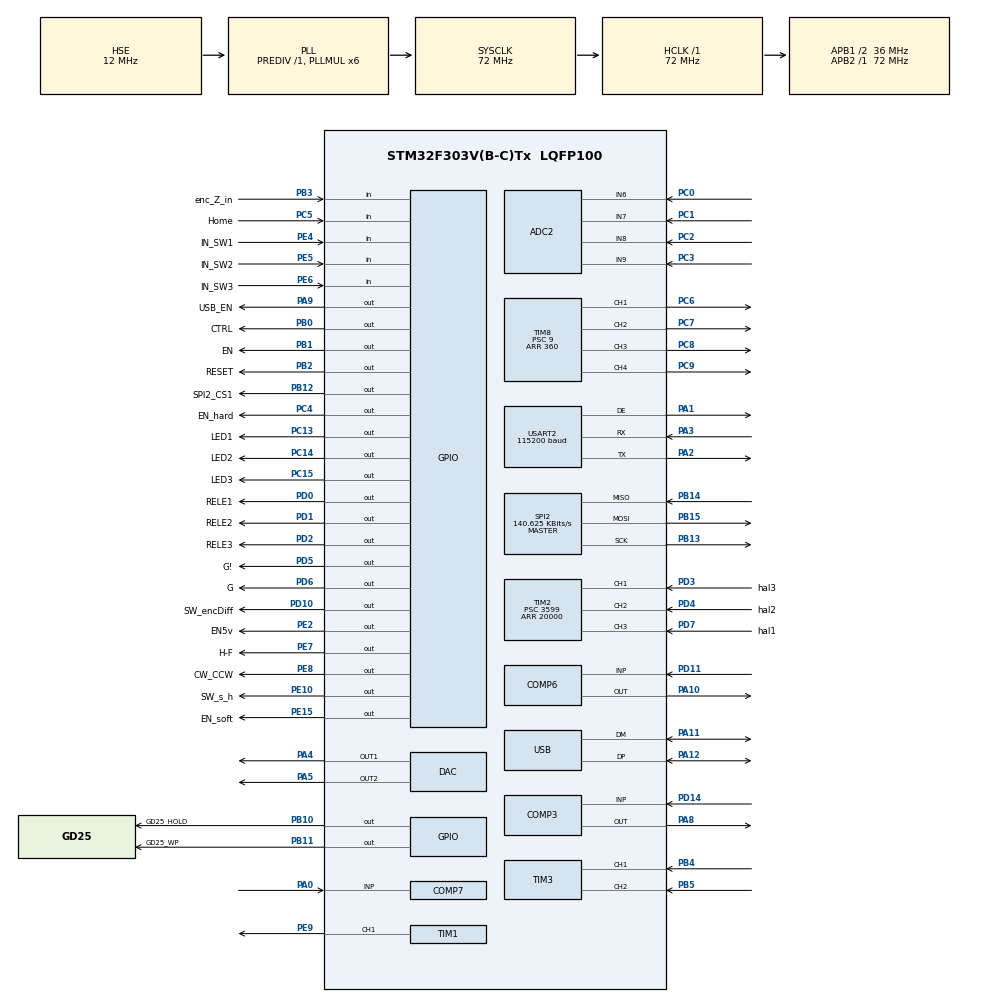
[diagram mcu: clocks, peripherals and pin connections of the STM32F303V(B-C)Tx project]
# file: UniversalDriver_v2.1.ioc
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ADC1.Channel-0\#ChannelRegularConversion=ADC_CHANNEL_6
ADC1.Channel-5\#ChannelRegularConversion=ADC_CHANNEL_7
ADC1.Channel-6\#ChannelRegularConversion=ADC_CHANNEL_8
ADC1.Channel-7\#ChannelRegularConversion=ADC_CHANNEL_9
ADC1.ClockPrescaler=ADC_CLOCK_ASYNC_DIV1
ADC1.ContinuousConvMode=ENABLE
ADC1.DMAContinuousRequests=ENABLE
ADC1.InjNumberOfConversion=0
ADC1.NbrOfConversion=4
ADC1.NbrOfConversionFlag=1
ADC1.Offset-0\#ChannelRegularConversion=0
ADC1.Offset-5\#ChannelRegularConversion=0
ADC1.Offset-6\#ChannelRegularConversion=0
ADC1.Offset-7\#ChannelRegularConversion=0
ADC1.OffsetNumber-0\#ChannelRegularConversion=ADC_OFFSET_NONE
ADC1.OffsetNumber-5\#ChannelRegularConversion=ADC_OFFSET_NONE
ADC1.OffsetNumber-6\#ChannelRegularConversion=ADC_OFFSET_NONE
ADC1.OffsetNumber-7\#ChannelRegularConversion=ADC_OFFSET_NONE
ADC1.Rank-0\#ChannelRegularConversion=1
ADC1.Rank-5\#ChannelRegularConversion=2
ADC1.Rank-6\#ChannelRegularConversion=3
ADC1.Rank-7\#ChannelRegularConversion=4
ADC1.SamplingTime-0\#ChannelRegularConversion=ADC_SAMPLETIME_19CYCLES_5
ADC1.SamplingTime-5\#ChannelRegularConversion=ADC_SAMPLETIME_19CYCLES_5
ADC1.SamplingTime-6\#ChannelRegularConversion=ADC_SAMPLETIME_19CYCLES_5
ADC1.SamplingTime-7\#ChannelRegularConversion=ADC_SAMPLETIME_19CYCLES_5
ADC1.master=1
ADC2.Channel-0\#ChannelRegularConversion=ADC_CHANNEL_9
ADC2.NbrOfConversionFlag=1
ADC2.Offset-0\#ChannelRegularConversion=0
ADC2.OffsetNumber-0\#ChannelRegularConversion=ADC_OFFSET_NONE
ADC2.Rank-0\#ChannelRegularConversion=1
ADC2.SamplingTime-0\#ChannelRegularConversion=ADC_SAMPLETIME_1CYCLE_5
COMP3.InvertingInput=COMP_INVERTINGINPUT_DAC1_CH2
COMP6.InvertingInput=COMP_INVERTINGINPUT_DAC1_CH2
COMP7.InvertingInput=COMP_INVERTINGINPUT_DAC1_CH2
Dma.ADC1.0.Direction=DMA_PERIPH_TO_MEMORY
Dma.ADC1.0.Instance=DMA1_Channel1
Dma.ADC1.0.MemDataAlignment=DMA_MDATAALIGN_HALFWORD
Dma.ADC1.0.MemInc=DMA_MINC_ENABLE
Dma.ADC1.0.Mode=DMA_CIRCULAR
Dma.ADC1.0.PeriphDataAlignment=DMA_PDATAALIGN_HALFWORD
Dma.ADC1.0.PeriphInc=DMA_PINC_DISABLE
Dma.ADC1.0.Priority=DMA_PRIORITY_LOW
Dma.Request0=ADC1
FREERTOS.INCLUDE_vTaskDelayUntil=1
FREERTOS.Tasks01=mainTask,0,512,MainTask,Default,NULL,Dynamic,NULL,NULL;modBus,0,512,ModBus,Default,NULL,Dynamic,NULL,NULL
FREERTOS.configTOTAL_HEAP_SIZE=20480
Mcu.Family=STM32F3
Mcu.Name=STM32F303V(B-C)Tx
Mcu.Package=LQFP100
NVIC.DMA1_Channel1_IRQn=true\:5\:0\:false\:false\:true\:true\:false\:true
NVIC.PriorityGroup=NVIC_PRIORITYGROUP_4
NVIC.TIM1_TRG_COM_TIM17_IRQn=true\:5\:0\:false\:false\:true\:true\:true\:true
NVIC.TIM2_IRQn=true\:5\:0\:false\:false\:true\:true\:true\:true
NVIC.TIM4_IRQn=true\:5\:0\:false\:false\:true\:true\:true\:true
NVIC.TIM6_DAC_IRQn=true\:5\:0\:false\:false\:true\:true\:true\:true
NVIC.TIM7_IRQn=true\:0\:0\:false\:false\:true\:false\:false\:true
NVIC.TimeBase=TIM7_IRQn
NVIC.TimeBaseIP=TIM7
NVIC.USART2_IRQn=true\:5\:0\:false\:false\:true\:true\:true\:true
NVIC.USB_LP_CAN_RX0_IRQn=true\:5\:0\:false\:false\:true\:true\:false\:true
PA0.Mode=INP
PA0.Signal=COMP7_INP
PA1.Mode=Hardware Flow Control (RS485)
PA1.Signal=USART2_DE
PA10.Mode=ExternalOutput
PA10.Signal=COMP6_OUT
PA11.Mode=Device
PA11.Signal=USB_DM
PA12.Mode=Device
PA12.Signal=USB_DP
PA13.Mode=Serial_Wire
PA13.Signal=SYS_JTMS-SWDIO
PA14.Mode=Serial_Wire
PA14.Signal=SYS_JTCK-SWCLK
PA2.Mode=Asynchronous
PA2.Signal=USART2_TX
PA3.Mode=Asynchronous
PA3.Signal=USART2_RX
PA4.Signal=COMP_DAC1_group
PA5.Signal=COMP_DAC2_group
PA6.Signal=TIM1_BKIN
PA7.Signal=S_TIM17_CH1
PA8.Mode=ExternalOutput
PA8.Signal=COMP3_OUT
PA9.GPIO_Label=USB_EN
PA9.Signal=GPIO_Output
PB0.GPIO_Label=CTRL
PB0.Signal=GPIO_Output
PB1.GPIO_Label=EN
PB1.Signal=GPIO_Output
PB10.GPIO_Label=GD25_HOLD
PB10.Signal=GPIO_Output
PB11.GPIO_Label=GD25_WP
PB11.Signal=GPIO_Output
PB12.GPIO_Label=SPI2_CS1
PB12.Signal=GPIO_Output
PB13.Mode=Full_Duplex_Master
PB13.Signal=SPI2_SCK
PB14.Mode=Full_Duplex_Master
PB14.Signal=SPI2_MISO
PB15.Mode=Full_Duplex_Master
PB15.Signal=SPI2_MOSI
PB2.GPIO_Label=RESET
PB2.Signal=GPIO_Output
PB3.GPIO_Label=enc_Z_in
PB3.Signal=GPIO_Input
PB4.Signal=S_TIM3_CH1
PB5.Signal=S_TIM3_CH2
PB6.Signal=TIM8_BKIN2
PB7.Signal=TIM8_BKIN
PB8.Signal=CAN_RX
PB9.Signal=CAN_TX
PC0.Signal=ADCx_IN6
PC1.Signal=ADCx_IN7
PC13.GPIO_Label=LED1
PC13.Signal=GPIO_Output
PC14-OSC32_IN.GPIO_Label=LED2
PC14-OSC32_IN.Signal=GPIO_Output
PC15-OSC32_OUT.GPIO_Label=LED3
PC15-OSC32_OUT.Signal=GPIO_Output
PC2.Signal=ADCx_IN8
PC3.Signal=ADCx_IN9
PC4.GPIO_Label=EN_hard
PC4.Signal=GPIO_Output
PC5.GPIO_Label=Home
PC5.Signal=GPIO_Input
PC6.Signal=S_TIM8_CH1
PC7.Signal=S_TIM8_CH2
PC8.Signal=S_TIM8_CH3
PC9.Signal=S_TIM8_CH4
PD0.GPIO_Label=RELE1
PD0.Signal=GPIO_Output
PD1.GPIO_Label=RELE2
PD1.Signal=GPIO_Output
PD10.GPIO_Label=SW_encDiff
PD10.Signal=GPIO_Output
PD11.Mode=INP
PD11.Signal=COMP6_INP
PD12.Signal=USART3_DE
PD14.Mode=INP
PD14.Signal=COMP3_INP
PD2.GPIO_Label=RELE3
PD2.Signal=GPIO_Output
PD3.GPIO_Label=hal3
PD3.Signal=S_TIM2_CH1_ETR
PD4.GPIO_Label=hal2
PD4.Signal=S_TIM2_CH2
PD5.GPIO_Label=G\!
PD5.Signal=GPIO_Output
PD6.GPIO_Label=G
PD6.Signal=GPIO_Output
PD7.GPIO_Label=hal1
PD7.Signal=S_TIM2_CH3
PD8.Signal=USART3_TX
PD9.Signal=USART3_RX
PE10.GPIO_Label=SW_s_h
PE10.Signal=GPIO_Output
PE15.GPIO_Label=EN_soft
PE15.Signal=GPIO_Output
PE2.GPIO_Label=EN5v
PE2.Signal=GPIO_Output
PE4.GPIO_Label=IN_SW1
PE4.Signal=GPIO_Input
PE5.GPIO_Label=IN_SW2
PE5.Signal=GPIO_Input
PE6.GPIO_Label=IN_SW3
PE6.Signal=GPIO_Input
PE7.GPIO_Label=H-F
PE7.Signal=GPIO_Output
PE8.GPIO_Label=CW_CCW
PE8.Signal=GPIO_Output
PE9.Signal=S_TIM1_CH1
PF0-OSC_IN.Mode=HSE-External-Oscillator
PF0-OSC_IN.Signal=RCC_OSC_IN
PF1-OSC_OUT.Mode=HSE-External-Oscillator
PF1-OSC_OUT.Signal=RCC_OSC_OUT
ProjectManager.HeapSize=0x1000
ProjectManager.StackSize=0x400
ProjectManager.TargetToolchain=EWARM V8.32
RCC.AHBFreq_Value=72000000
RCC.APB1CLKDivider=RCC_HCLK_DIV2
RCC.APB1Freq_Value=36000000
RCC.APB1TimFreq_Value=72000000
RCC.APB2Freq_Value=72000000
RCC.APB2TimFreq_Value=72000000
RCC.CortexFreq_Value=72000000
RCC.HCLKFreq_Value=72000000
RCC.HSE_VALUE=12000000
RCC.HSI_VALUE=8000000
RCC.LSE_VALUE=32768
RCC.PLLMUL=RCC_PLL_MUL6
RCC.PRESCALERUSB=RCC_USBCLKSOURCE_PLL_DIV1_5
RCC.SYSCLKFreq_VALUE=72000000
RCC.SYSCLKSourceVirtual=RCC_SYSCLKSOURCE_PLLCLK
RCC.USBFreq_Value=48000000
SH.ADCx_IN6.0=ADC2_IN6,IN6-Single-Ended
SH.ADCx_IN6.1=ADC1_IN6,IN6-Single-Ended
SH.ADCx_IN7.0=ADC2_IN7,IN7-Single-Ended
SH.ADCx_IN7.1=ADC1_IN7,IN7-Single-Ended
SH.ADCx_IN8.0=ADC2_IN8,IN8-Single-Ended
SH.ADCx_IN8.1=ADC1_IN8,IN8-Single-Ended
SH.ADCx_IN9.0=ADC2_IN9,IN9-Single-Ended
SH.ADCx_IN9.1=ADC1_IN9,IN9-Single-Ended
SH.COMP_DAC1_group.0=DAC_OUT1,DAC_OUT1
SH.COMP_DAC2_group.0=DAC_OUT2,Enable_DAC_OUT2
SH.S_TIM17_CH1.0=TIM17_CH1
SH.S_TIM1_CH1.0=TIM1_CH1,Output Compare1 CH1
SH.S_TIM2_CH1_ETR.0=TIM2_CH1,Xored_Inputs_Hall_Sensor_Interface
SH.S_TIM2_CH2.0=TIM2_CH2,Xored_Inputs_Hall_Sensor_Interface
SH.S_TIM2_CH3.0=TIM2_CH3,Xored_Inputs_Hall_Sensor_Interface
SH.S_TIM3_CH1.0=TIM3_CH1,Encoder_Interface
SH.S_TIM3_CH2.0=TIM3_CH2,Encoder_Interface
SH.S_TIM8_CH1.0=TIM8_CH1,PWM Generation1 CH1
SH.S_TIM8_CH2.0=TIM8_CH2,PWM Generation2 CH2
SH.S_TIM8_CH3.0=TIM8_CH3,PWM Generation3 CH3
SH.S_TIM8_CH4.0=TIM8_CH4,PWM Generation4 CH4
SPI2.BaudRatePrescaler=SPI_BAUDRATEPRESCALER_256
SPI2.CLKPhase=SPI_PHASE_1EDGE
SPI2.CLKPolarity=SPI_POLARITY_LOW
SPI2.CalculateBaudRate=140.625 KBits/s
SPI2.DataSize=SPI_DATASIZE_8BIT
SPI2.Direction=SPI_DIRECTION_2LINES
SPI2.Mode=SPI_MODE_MASTER
SPI2.VirtualType=VM_MASTER
TIM1.AutoReloadPreload=TIM_AUTORELOAD_PRELOAD_ENABLE
TIM1.Channel-Output\ Compare1\ CH1=TIM_CHANNEL_1
TIM1.OCMode_1=TIM_OCMODE_TOGGLE
TIM1.Period=799
TIM1.Prescaler=71
TIM1.Pulse-Output\ Compare1\ CH1=100
TIM1.TIM_MasterOutputTrigger=TIM_TRGO_OC1REF
TIM2.AutoReloadPreload=TIM_AUTORELOAD_PRELOAD_ENABLE
TIM2.Period=20000
TIM2.Prescaler=3599
TIM4.Prescaler=1
TIM6.Prescaler=71
TIM8.Channel-PWM\ Generation1\ CH1=TIM_CHANNEL_1
TIM8.Channel-PWM\ Generation2\ CH2=TIM_CHANNEL_2
TIM8.Channel-PWM\ Generation3\ CH3=TIM_CHANNEL_3
TIM8.Channel-PWM\ Generation4\ CH4=TIM_CHANNEL_4
TIM8.Period=360
TIM8.Prescaler=9
USART2.BaudRate=115200
USART2.VirtualMode-Asynchronous=VM_ASYNC
USART2.VirtualMode-Hardware\ Flow\ Control\ (RS485)=VM_ASYNC
USB.low_power_enable=DISABLE
USB.lpm_enable=DISABLE
USB_DEVICE.CLASS_NAME_FS=CDC
USB_DEVICE.PRODUCT_STRING_CDC_FS=Motor Controller
USB_DEVICE.VirtualMode=Cdc
USB_DEVICE.VirtualModeFS=Cdc_FS
VP_COMP3_VS_DAC1OUT2.Mode=INM_DACOUT2
VP_COMP6_VS_DAC1OUT2.Mode=INM_DACOUT2
VP_COMP7_VS_DAC1OUT2.Mode=INM_DACOUT2
VP_FREERTOS_VS_CMSIS_V1.Mode=CMSIS_V1
VP_SYS_VS_tim7.Mode=TIM7
VP_TIM16_VS_ClockSourceINT.Mode=Enable_Timer
VP_TIM17_VS_ClockSourceINT.Mode=Enable_Timer
VP_TIM4_VS_ClockSourceITR.Mode=TriggerSource_ITR0
VP_TIM4_VS_ControllerModeClock.Mode=Clock Mode
VP_TIM6_VS_ClockSourceINT.Mode=Enable_Timer
VP_USB_DEVICE_VS_USB_DEVICE_CDC_FS.Mode=CDC_FS
board=custom

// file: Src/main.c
/* USER CODE BEGIN Header */
/**
******************************************************************************
* @file           : main.c
* @brief          : Main program body
******************************************************************************
* @attention
*
* <h2><center>&copy; Copyright (c) 2020 STMicroelectronics.
* All rights reserved.</center></h2>
*
* This software component is licensed by ST under Ultimate Liberty license
* SLA0044, the "License"; You may not use this file except in compliance with
* the License. You may obtain a copy of the License at:
*                             www.st.com/SLA0044
*
******************************************************************************
*/
/* USER CODE END Header */

#include "main.h"
#include "cmsis_os.h"
#include "adc.h"
#include "comp.h"
#include "dac.h"
#include "dma.h"
#include "spi.h"
#include "tim.h"
#include "usart.h"
#include "usb_device.h"
#include "gpio.h"

/* USER CODE BEGIN Includes */
#include "motor.hpp"
#include "flash.h"
#include "Delay_us_DWT.h"
#include "LED.h"
/* USER CODE END Includes */

/* USER CODE BEGIN PV */
char str_rx[21]; // для usb
uint32_t count_tic = 0; //для замеров времени выполнения кода
extern TIM_HandleTypeDef htim3;
settings_t settings = {115200, 0x0D, 0};
bool resetSettings = false;

step_motor stepper(&hdac, DAC_CHANNEL_1, &htim4, &htim1, TIM_CHANNEL_1, &htim6);
//BLDC_motor BLDC(&htim8, &htim1, &htim2, &htim3);
led LED_rs485;
led LED_error;
led LED_OSstart;

base_motor *pMotor;
/* USER CODE END PV */

void SystemClock_Config(void);
void MX_FREERTOS_Init(void);

int main(void)
{

  /* MCU Configuration--------------------------------------------------------*/

  /* Reset of all peripherals, Initializes the Flash interface and the Systick. */
  HAL_Init();

  /* Configure the system clock */
  SystemClock_Config();

  /* Initialize all configured peripherals */
  MX_GPIO_Init();
  MX_DMA_Init();
  MX_ADC1_Init();
  MX_ADC2_Init();
  MX_DAC_Init();
  MX_SPI2_Init();
  MX_TIM1_Init();
  MX_TIM2_Init();
  MX_TIM3_Init();
  MX_TIM8_Init();
  MX_USART2_UART_Init();
  MX_COMP3_Init();
  MX_COMP6_Init();
  MX_COMP7_Init();
  MX_TIM4_Init();
  MX_TIM6_Init();
  MX_TIM16_Init();
  MX_TIM17_Init();
  /* USER CODE BEGIN 2 */
  DWT_Init();

  HAL_GPIO_WritePin(EN5v_GPIO_Port, EN5v_Pin, GPIO_PIN_SET); // on 5v

  Flash_ReadParams(&settings, StartSettingsAddres);

  if((settings.BaudRate == 0) | (settings.BaudRate == 0xFFFFFFFF) | resetSettings)
    {

      settings.BaudRate = 115200;
      settings.SlaveAddress = 0x0D;
      settings.motorType = 0;
      settings.Accel = 50;
      settings.CurrentStop = 200;
      settings.LowPWR = 1;
      FLASH_WriteSettings(settings, StartSettingsAddres);
    }
   //HAL_TIM_PWM_Start_IT(&htim17, TIM_CHANNEL_1); // start PWM

   //HAL_TIM_OC_Start(&htim8, TIM_CHANNEL_4);

  //pMotor = &BLDC;
  pMotor = &stepper;

  HAL_Delay(500);
  /* USER CODE END 2 */

  /* Call init function for freertos objects (in freertos.c) */
  MX_FREERTOS_Init();
  /* Start scheduler */
  osKernelStart();

  /* We should never get here as control is now taken by the scheduler */
  /* Infinite loop */
   while (1)
   {

  }
}

void SystemClock_Config(void)
{
  RCC_OscInitTypeDef RCC_OscInitStruct = {0};
  RCC_ClkInitTypeDef RCC_ClkInitStruct = {0};
  RCC_PeriphCLKInitTypeDef PeriphClkInit = {0};

  /** Initializes the CPU, AHB and APB busses clocks
  */
  RCC_OscInitStruct.OscillatorType = RCC_OSCILLATORTYPE_HSE;
  RCC_OscInitStruct.HSEState = RCC_HSE_ON;
  RCC_OscInitStruct.HSEPredivValue = RCC_HSE_PREDIV_DIV1;
  RCC_OscInitStruct.HSIState = RCC_HSI_ON;
  RCC_OscInitStruct.PLL.PLLState = RCC_PLL_ON;
  RCC_OscInitStruct.PLL.PLLSource = RCC_PLLSOURCE_HSE;
  RCC_OscInitStruct.PLL.PLLMUL = RCC_PLL_MUL6;
  if (HAL_RCC_OscConfig(&RCC_OscInitStruct) != HAL_OK)
  {
    Error_Handler();
  }
  /** Initializes the CPU, AHB and APB busses clocks
  */
  RCC_ClkInitStruct.ClockType = RCC_CLOCKTYPE_HCLK|RCC_CLOCKTYPE_SYSCLK
                              |RCC_CLOCKTYPE_PCLK1|RCC_CLOCKTYPE_PCLK2;
  RCC_ClkInitStruct.SYSCLKSource = RCC_SYSCLKSOURCE_PLLCLK;
  RCC_ClkInitStruct.AHBCLKDivider = RCC_SYSCLK_DIV1;
  RCC_ClkInitStruct.APB1CLKDivider = RCC_HCLK_DIV2;
  RCC_ClkInitStruct.APB2CLKDivider = RCC_HCLK_DIV1;

  if (HAL_RCC_ClockConfig(&RCC_ClkInitStruct, FLASH_LATENCY_2) != HAL_OK)
  {
    Error_Handler();
  }
  PeriphClkInit.PeriphClockSelection = RCC_PERIPHCLK_USB|RCC_PERIPHCLK_USART2
                              |RCC_PERIPHCLK_TIM1|RCC_PERIPHCLK_TIM8
                              |RCC_PERIPHCLK_ADC12;
  PeriphClkInit.Usart2ClockSelection = RCC_USART2CLKSOURCE_PCLK1;
  PeriphClkInit.Adc12ClockSelection = RCC_ADC12PLLCLK_DIV1;
  PeriphClkInit.USBClockSelection = RCC_USBCLKSOURCE_PLL_DIV1_5;
  PeriphClkInit.Tim1ClockSelection = RCC_TIM1CLK_HCLK;
  PeriphClkInit.Tim8ClockSelection = RCC_TIM8CLK_HCLK;
  if (HAL_RCCEx_PeriphCLKConfig(&PeriphClkInit) != HAL_OK)
  {
    Error_Handler();
  }
}

/* USER CODE BEGIN 4 */
void HAL_TIM_IC_CaptureCallback(TIM_HandleTypeDef *htim){
  if(htim->Instance == TIM2){
    pMotor->SensHandler();
  }
}
void ledBlink(){
  LED_rs485.LEDon(0);
}

/* USER CODE END 4 */

 /**
  * @brief  Period elapsed callback in non blocking mode
  * @note   This function is called  when TIM7 interrupt took place, inside
  * HAL_TIM_IRQHandler(). It makes a direct call to HAL_IncTick() to increment
  * a global variable "uwTick" used as application time base.
  * @param  htim : TIM handle
  * @retval None
  */
void HAL_TIM_PeriodElapsedCallback(TIM_HandleTypeDef *htim)
{
  /* USER CODE BEGIN Callback 0 */
  //   if(htim->Instance == TIM2){
  //     pMotor->stop();
  //   }
  if(htim->Instance == TIM4){
    //HAL_TIM_OC_Stop(&htim8, TIM_CHANNEL_4);
    pMotor->StepsAllHandler(TIM4->CNT);
  }
  if(htim->Instance == TIM6){
    pMotor->AccelHandler();
  }
  /* USER CODE END Callback 0 */
  if (htim->Instance == TIM7) {
    HAL_IncTick();
  }
}

void Error_Handler(void)
{
}

/************************ (C) COPYRIGHT STMicroelectronics *****END OF FILE****/

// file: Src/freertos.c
/* USER CODE BEGIN Header */
/**
******************************************************************************
* File Name          : freertos.c
* Description        : Code for freertos applications
******************************************************************************
* @attention
*
* <h2><center>&copy; Copyright (c) 2020 STMicroelectronics.
* All rights reserved.</center></h2>
*
* This software component is licensed by ST under Ultimate Liberty license
* SLA0044, the "License"; You may not use this file except in compliance with
* the License. You may obtain a copy of the License at:
*                             www.st.com/SLA0044
*
******************************************************************************
*/
/* USER CODE END Header */

#include "FreeRTOS.h"
#include "task.h"
#include "main.h"
#include "cmsis_os.h"

/* USER CODE BEGIN Includes */
#include "mb.h"
#include "mbport.h"
#include "motor.hpp"
#include "flash.h"
#include "LED.h"

using namespace std;
/* USER CODE END Includes */

/* USER CODE BEGIN Variables */
extern settings_t settings;
extern TIM_HandleTypeDef htim17;
extern TIM_HandleTypeDef htim1;
extern TIM_HandleTypeDef htim8;
extern DAC_HandleTypeDef hdac;
extern SPI_HandleTypeDef hspi2;
extern DMA_HandleTypeDef hdma_adc1;
extern ADC_HandleTypeDef hadc1;

//extern step_motor stepper;
extern BLDC_motor BLDC;
extern base_motor *pMotor;
extern led LED_rs485;
extern led LED_error;
extern led LED_OSstart;

uint16_t ADC_Data[40];
//переменные для дебага
int Start = false;
bool DR = false;
uint32_t steps = 2000;
dir dir1 = dir::CW;
/* USER CODE END Variables */
osThreadId mainTaskHandle;
osThreadId modBusHandle;

/* USER CODE BEGIN FunctionPrototypes */
// extern "C"
/* USER CODE END FunctionPrototypes */

void MainTask(void const * argument);
void ModBus(void const * argument);

extern "C" void MX_USB_DEVICE_Init(void);
void MX_FREERTOS_Init(void); /* (MISRA C 2004 rule 8.1) */

/* GetIdleTaskMemory prototype (linked to static allocation support) */
extern "C" void vApplicationGetIdleTaskMemory( StaticTask_t **ppxIdleTaskTCBBuffer, StackType_t **ppxIdleTaskStackBuffer, uint32_t *pulIdleTaskStackSize );

/* USER CODE BEGIN GET_IDLE_TASK_MEMORY */
static StaticTask_t xIdleTaskTCBBuffer;
static StackType_t xIdleStack[configMINIMAL_STACK_SIZE];

void vApplicationGetIdleTaskMemory( StaticTask_t **ppxIdleTaskTCBBuffer, StackType_t **ppxIdleTaskStackBuffer, uint32_t *pulIdleTaskStackSize )
{
   *ppxIdleTaskTCBBuffer = &xIdleTaskTCBBuffer;
   *ppxIdleTaskStackBuffer = &xIdleStack[0];
   *pulIdleTaskStackSize = configMINIMAL_STACK_SIZE;
   /* place for user code */
}
/* USER CODE END GET_IDLE_TASK_MEMORY */

void MX_FREERTOS_Init(void) {

  /* Create the thread(s) */
  /* definition and creation of mainTask */
  osThreadDef(mainTask, MainTask, osPriorityNormal, 0, 512);
  mainTaskHandle = osThreadCreate(osThread(mainTask), NULL);

  /* definition and creation of modBus */
  osThreadDef(modBus, ModBus, osPriorityNormal, 0, 512);
  modBusHandle = osThreadCreate(osThread(modBus), NULL);

}

void MainTask(void const * argument)
{
  /* init code for USB_DEVICE */
  MX_USB_DEVICE_Init();
  /* USER CODE BEGIN MainTask */
  //HAL_ADC_Start_DMA(&hadc1,(uint32_t*) &ADC_Data,4);
   //    uint8_t TxBuff[10] = {0x05};
   //    uint8_t RxBuff[50] = {0};
   //    uint16_t Size = 1;
   //    HAL_StatusTypeDef StatusSPI2;
   // переподключение USB
   osDelay(20);
   HAL_GPIO_WritePin(USB_EN_GPIO_Port, USB_EN_Pin, GPIO_PIN_SET);
   osDelay(20);
   HAL_GPIO_WritePin(USB_EN_GPIO_Port, USB_EN_Pin, GPIO_PIN_RESET);

   pMotor->Init(settings);
   //pMotor->SetCurrentMax(settings.CurrentMax);
   //pMotor->SetCurrentStop(settings.CurrentStop);
   pMotor->SetPWM_Mode(settings.LowPWR);

   LED_rs485.Init(LED3_GPIO_Port, LED3_Pin);
   LED_error.Init(LED1_GPIO_Port, LED1_Pin);
   LED_OSstart.Init(LED2_GPIO_Port, LED2_Pin);
   LED_OSstart.setParameters(mode::BLINK, 2000, 100);
   LED_OSstart.LEDon();
   /* Infinite loop */
   HAL_GPIO_WritePin(GD25_HOLD_GPIO_Port, GD25_HOLD_Pin, GPIO_PIN_SET);
   HAL_GPIO_WritePin(GD25_WP_GPIO_Port, GD25_WP_Pin, GPIO_PIN_SET);

   uint32_t tickcount = osKernelSysTick();// переменная для точной задержки

   for(;;)
   {
      LED_rs485.poll();
      LED_error.poll();
      LED_OSstart.poll();

      //HAL_GPIO_TogglePin(clock_GPIO_Port, clock_Pin);

      // тестирование флешки
      //        HAL_GPIO_WritePin(SPI2_CS1_GPIO_Port, SPI2_CS1_Pin, GPIO_PIN_RESET);
      //        StatusSPI2 = HAL_SPI_Transmit(&hspi2, TxBuff, 1, 100);
      //        HAL_Delay(100);
      //        StatusSPI2 = HAL_SPI_Receive(&hspi2, RxBuff, Size, 100);
      //        StatusSPI2 = StatusSPI2;
      //        HAL_GPIO_WritePin(SPI2_CS1_GPIO_Port, SPI2_CS1_Pin, GPIO_PIN_SET);
      //
      if(Start == 1){
         Start = 0;

         //         TIM8->CNT = 0;
         //         TIM2->CNT = 0;
         //         HAL_TIM_OC_Start(&htim8, TIM_CHANNEL_4);

         pMotor->stop();
         //         if(DR){
         //            BLDC.DirectCW();
         //         }else{
         //            BLDC.DirectCCW();
         //         }
         //         BLDC.start();

      }
      if(Start == 2){
         Start = 0;
         //         BLDC.stop();
         //HAL_TIM_OC_Stop(&htim8, TIM_CHANNEL_4);
         pMotor->deceleration();

      }
      if(Start == 3){
         Start = 0;
         pMotor->goTo(steps, dir1);

      }
      if(Start == 4){
         Start = 0;
         pMotor->start();
      }
      if(Start == 5){
        Start = 0;
        pMotor->deceleration();
      }
      //taskYIELD();
      osDelayUntil(&tickcount, 1); // задача будет вызываься ровро через 1 милисекунду
   }
  /* USER CODE END MainTask */
}

void ModBus(void const * argument)
{
  /* USER CODE BEGIN ModBus */
   /* Infinite loop */
   eMBErrorCode eStatus = eMBInit( MB_RTU, settings.SlaveAddress, 3, settings.BaudRate, MB_PAR_NONE );
   eStatus = eMBEnable();
   //HAL_TIM_Base_Start_IT(&htim17);
   for(;;)
   {
      eMBPoll();
      //taskYIELD();
   }
  /* USER CODE END ModBus */
}

/* USER CODE BEGIN Application */
/*description https://www.freemodbus.org/api/group__modbus__registers.html*/
//0x04
eMBErrorCode
eMBRegInputCB( UCHAR * pucRegBuffer, USHORT usAddress, USHORT usNRegs )
{
   eMBErrorCode    eStatus = MB_ENOERR;

   return eStatus;
}
//0x03 0x06 0x10
eMBErrorCode
eMBRegHoldingCB( UCHAR * pucRegBuffer, USHORT usAddress, USHORT usNRegs, eMBRegisterMode eMode )
{
   //uint8_t CMD[5] = {0};
   volatile HAL_StatusTypeDef status;

   if(usAddress == 0 ){}
   else{usAddress--;}

   eMBErrorCode    eStatus = MB_ENOERR;

   switch (eMode)
   {
     case MB_REG_READ:
      {
         switch (usAddress)
         {
           case 0: //  Stop/Start
            {

               break;
            }
           case 1: //
            {

               break;
            }
           case 2: //Status start/stop
            {
               *(pucRegBuffer+1) = (UCHAR)pMotor->getStatusRotation();
               break;
            }
           case 3: //Status Dir
            {
               *(pucRegBuffer+1) = (UCHAR)pMotor->getStatusDirect();
               break;
            }
           case 4: // RPM
            {

               break;
            }
           case 5: //
            {
               break;
            }
           case 6: //
            {

               break;
            }
           case 7: //
            {
               break;
            }
           case 8:
            {

               break;
            }
           case 9:
            {

               break;
            }
           case 10:
            {

               break;
            }

           default:
            {
               eStatus = MB_ENOREG;
               break;
            }
         }

         break;
      }
     case MB_REG_WRITE:
      {

         switch (usAddress)
         {
           case 0: //  Stop/Start
            {
               if(!*(pucRegBuffer+1)){
                 if(pMotor->getStatusRotation() == statusMotor :: MOTION){
                   pMotor->deceleration();
                   pMotor->removeBreak(false);
                 }

               }else{
                 if(pMotor->getStatusRotation() == statusMotor :: STOPPED){
                  pMotor->removeBreak(true);
                  pMotor->start();
                 }

               }
               break;
            }
           case 1: // Dir
            {
               uint16_t temp = 0;
               temp = temp | (*(pucRegBuffer) << 8);
               temp = temp | *(pucRegBuffer+1);
               if(temp < 20){
                 eStatus = MB_EINVAL;
               }else{
                   if(pMotor->getStatusRotation() == statusMotor :: STOPPED){
                     pMotor->goTo(temp, pMotor->getStatusDirect());
                   }else{
                     eStatus = MB_ETIMEDOUT;
                   }
               }
               break;
            }
           case 2:
            {

               break;
            }
           case 3:
            {
               if((!*(pucRegBuffer+1)) && pMotor->getStatusRotation() == statusMotor :: STOPPED){
                  //pMotor->deceleration();
                  //osDelay(100);
                  pMotor->SetDirection(dir::CW);
                  //pMotor->start();
               }else if(pMotor->getStatusRotation() == statusMotor :: STOPPED){
                  //pMotor->deceleration();
                  //osDelay(100);
                  pMotor->SetDirection(dir::CCW);
                  //pMotor->start();
               }
               break;
            }
           case 4: //
            {
              uint16_t temp = 0;
              temp = temp | (*(pucRegBuffer) << 8);
              temp = temp | *(pucRegBuffer+1);
              pMotor->SetSpeed(temp);
               break;
            }
           case 5: //
            {
              uint32_t tempCurrent = 0;
              tempCurrent = tempCurrent | (*(pucRegBuffer) << 8);
              tempCurrent = tempCurrent | *(pucRegBuffer+1);
              pMotor->SetAcceleration(tempCurrent);
              settings.Accel = tempCurrent;
              FLASH_WriteSettings(settings, StartSettingsAddres);
               break;
            }
           case 6: //
            {
              uint32_t tempCurrent = 0;
              tempCurrent = tempCurrent |(*(pucRegBuffer) << 8);
              tempCurrent = tempCurrent | *(pucRegBuffer+1);
              pMotor->SetCurrentStop(tempCurrent);
              settings.CurrentStop = tempCurrent;
              FLASH_WriteSettings(settings, StartSettingsAddres);
               break;
            }
           case 7: //
            {
              uint32_t temp = 0;
              temp = temp |(*(pucRegBuffer) << 8);
              temp = temp | *(pucRegBuffer+1);
              pMotor->SetPWRstatus((bool)temp);
              settings.LowPWR = temp;
              FLASH_WriteSettings(settings, StartSettingsAddres);
               break;
            }
           case 8:
            {
               FLASH_WriteSettings(settings, StartSettingsAddres);
               break;
            }
           case 9:
            {
               settings.BaudRate = ((*(pucRegBuffer)<<8) | (*(pucRegBuffer+1)))*10;
               break;
            }
           case 10:
            {
               settings.SlaveAddress = *(pucRegBuffer+1);
               break;
            }
           default:
            {
               eStatus = MB_ENOREG;
               break;
            }
         }
         break;
      }
     default:
      {
         eStatus = MB_EINVAL;
         break;
      }
   }

   return eStatus;
}

// 0x01 0x0f 0x05
eMBErrorCode
eMBRegCoilsCB( UCHAR * pucRegBuffer, USHORT usAddress, USHORT usNCoils, eMBRegisterMode eMode )
{
   return MB_ENOREG;
}
//0x02
eMBErrorCode
eMBRegDiscreteCB( UCHAR * pucRegBuffer, USHORT usAddress, USHORT usNDiscrete )
{
   return MB_ENOREG;
}

/******************************************************************************************************
Handlers
******************************************************************************************************/

void HAL_GPIO_EXTI_Callback(uint16_t GPIO_Pin){
   //   if((GPIO_Pin == sens1_Pin)|(GPIO_Pin == sens2_Pin)){
   //      pMotor->SensHandler();
   //   }
   //   if((GPIO_Pin == zeroD_Pin) & (DR)){
   //     HAL_TIM_OC_Stop(&htim8, TIM_CHANNEL_4);
   //   }
}

/* USER CODE END Application */

/************************ (C) COPYRIGHT STMicroelectronics *****END OF FILE****/
